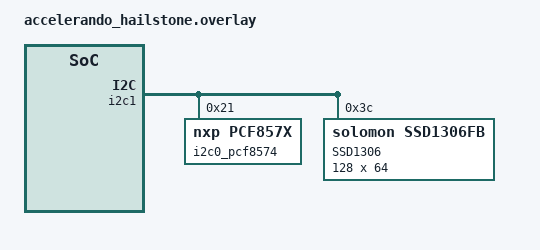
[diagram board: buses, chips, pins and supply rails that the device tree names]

/ {
	chosen {
		zephyr,display = &oled;
	};
};

&i2c0 {
	status = "disabled";

};

&i2c1 {
	status = "okay";

        i2c0_pcf8574@21 {
                 compatible = "nxp,pcf857x";
                 reg = <0x21>;
                 gpio-controller;
                 #gpio-cells = <2>;
                 ngpios = <8>;
        };

	oled: ssd1306@3c {
                compatible = "solomon,ssd1306fb";
                reg = <0x3c>;
                label = "SSD1306";
                width = <128>;
                height = <64>;
                segment-offset = <0>;
                page-offset = <0>;
                display-offset = <0>;
                multiplex-ratio = <63>;
                segment-remap;
                com-invdir;
                prechargep = <0x22>;
        };
};

&spi1 {
  status = "disabled";
};

